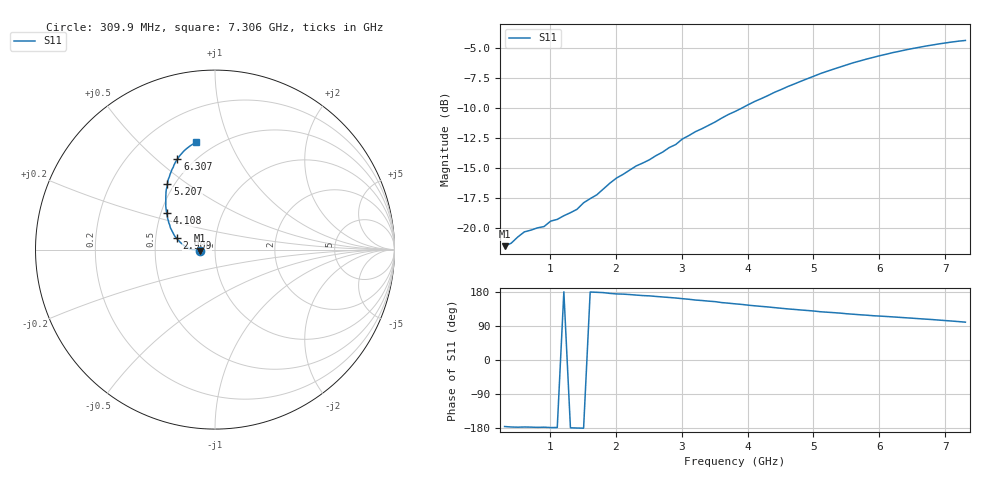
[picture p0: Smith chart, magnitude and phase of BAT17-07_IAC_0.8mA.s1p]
! Infineon Technologies  Discrete & RF Semiconductors
! BAT17-07
! IAC = 0.8 mA
! One-Port S-Parameters
# Hz  S  MA  R  50
!f  S11
!Hz  Mag  Ang
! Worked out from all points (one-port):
!   71 points, 309.9 MHz to 7.306 GHz, reference 50 ohm
!   lowest |S11| = -21.6 dB at 309.9 MHz (marker M1), VSWR 1.18, Z = 42.3 - j0.553 ohm
!   |S11| at or under -10 dB: start of sweep to 3.914 GHz
!   S11 on the Smith chart (normalised r, x): 309.9 MHz: 0.85, -0.01; 2.909 GHz: 0.64, +0.08; 4.108 GHz: 0.54, +0.25; 5.207 GHz: 0.46, +0.42; 6.307 GHz: 0.41, +0.59; 7.306 GHz: 0.40, +0.76
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3.0985e8  0.0836 -175.5
4.098e8  0.08602 -176.8
6.097e8  0.09593 -176.8
9.0955e8  0.101 -177.3
1.0095e9  0.1064 -178.3
1.10945e9  0.1082 -178.2
1.2094e9  0.1121 180.0
1.4093e9  0.1192 -179.5
1.50925e9  0.127 -179.9
1.70915e9  0.1371 178.7
1.90905e9  0.1534 175.8
2.009e9  0.1611 174.3
2.10895e9  0.1669 173.8
2.30885e9  0.1811 171.3
2.50875e9  0.1921 169.2
2.8086e9  0.216 165.0
2.90855e9  0.2225 163.6
3.0085e9  0.2346 161.8
3.50825e9  0.2766 154.0
3.8081e9  0.3057 148.2
4.10795e9  0.3369 143.0
4.70765e9  0.3985 133.5
5.2074e9  0.4505 126.1
5.6072e9  0.4892 120.7
6.30685e9  0.5462 112.5
6.50675e9  0.5608 110.2
6.8066e9  0.5802 106.7
7.30635e9  0.606 99.9
